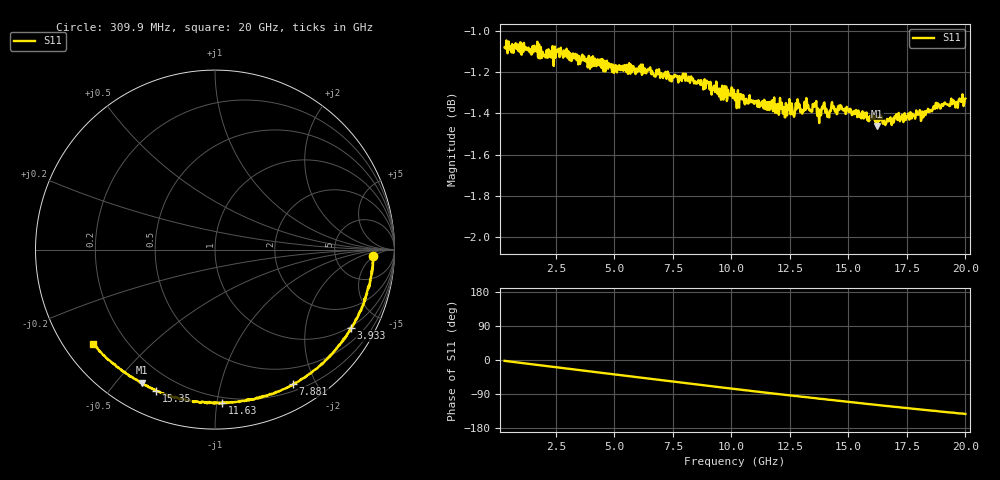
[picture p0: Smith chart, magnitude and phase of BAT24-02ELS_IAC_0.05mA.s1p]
! Infineon Technologies  Discrete & RF Semiconductors
! BAT24-02ELS
! IAC = 0.05 mA
! One-Port S-Parameters
# Hz  S  MA  R  50
!f  S11
!Hz  Mag  Ang
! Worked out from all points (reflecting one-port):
!   789 points, 309.9 MHz to 20 GHz, reference 50 ohm
!   lowest |S11| = -1.5 dB at 16.23 GHz (marker M1), VSWR 11.92, Z = 5.65 - j29.3 ohm
!   phase of S11 starts at -2 deg and turns -140 deg over the sweep
!   S11 on the Smith chart (normalised r, x): 309.9 MHz: 15, -5; 3.933 GHz: 0.95, -3.51; 7.881 GHz: 0.28, -1.70; 11.63 GHz: 0.17, -1.03; 15.35 GHz: 0.11, -0.66; 20 GHz: 0.09, -0.34
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3.0985e8  0.8832 -2.2
7.846125e8  0.8853 -5.8
1.634188e9  0.8829 -12.4
2.783612e9  0.8798 -21.2
3.933038e9  0.8745 -29.9
4.432788e9  0.8774 -33.7
5.232388e9  0.8733 -39.8
6.456775e9  0.8727 -48.9
7.70615e9  0.8686 -58.4
7.881062e9  0.8667 -59.8
8.980512e9  0.8661 -67.9
1.015492e10  0.8575 -76.7
1.082959e10  0.8568 -81.5
1.162919e10  0.8527 -87.4
1.262869e10  0.8508 -94.4
1.282859e10  0.858 -95.4
1.355322e10  0.856 -100.5
1.375312e10  0.8466 -102.3
1.392804e10  0.8546 -103.1
1.410295e10  0.8495 -104.5
1.432784e10  0.854 -105.8
1.507746e10  0.8534 -110.8
1.535232e10  0.8524 -112.7
1.622689e10  0.8452 -118.8
1.710145e10  0.848 -124.3
1.755122e10  0.8509 -127.0
1.892554e10  0.8535 -135.9
2e10  0.8583 -142.4
